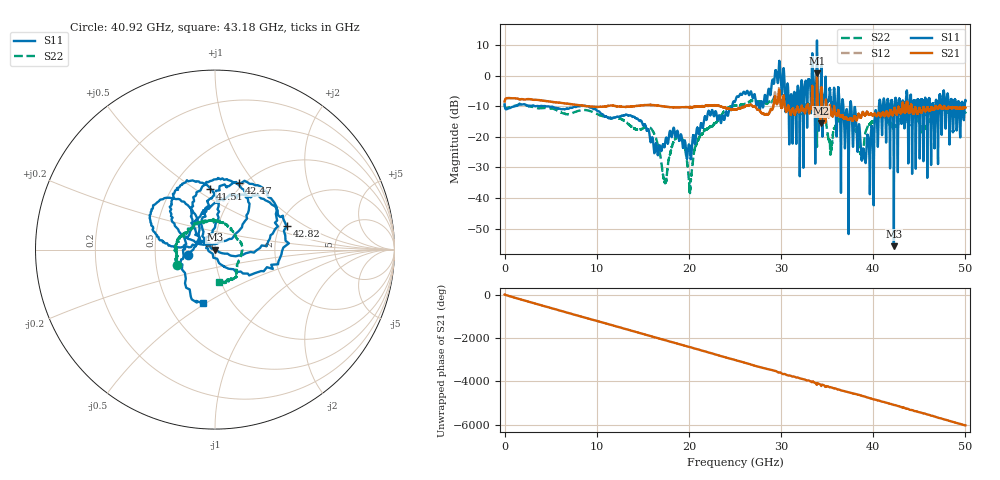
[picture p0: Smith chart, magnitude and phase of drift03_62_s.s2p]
!Created with skrf (http://scikit-rf.org).
# Hz S RI R 50.0
!freq ReS11 ImS11 ReS21 ImS21 ReS12 ImS12 ReS22 ImS22
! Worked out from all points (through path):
!   10001 points, 300 kHz to 50 GHz, reference 50 ohm
!   highest |S21| = 0.74 dB at 33.9 GHz (marker M1); lowest = -15.5 dB at 34.32 GHz (marker M2)
!   group delay of S21, straight-line fit = 335 ps
!   lowest |S11| = -55.8 dB at 42.24 GHz (marker M3), VSWR 1.00, Z = 49.9 - j0.123 ohm
!   |S11| at or under -10 dB: 4.472 GHz to 8.19 GHz (3.718 GHz wide, 58.7 % of centre); 9.016 GHz to 24.7 GHz (15.68 GHz wide, 93 % of centre); 37.62 GHz to 40.62 GHz (2.999 GHz wide, 7.67 % of centre) (the widest 3 of 56)
!   |S22| runs from -38.4 to -5.9 dB; largest |S21 - S12| = 0.11
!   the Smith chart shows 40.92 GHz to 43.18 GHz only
!   S11 on the Smith chart (normalised r, x): 40.92 GHz: 0.74, -0.05; 41.51 GHz: 0.76, +0.58; 42.47 GHz: 0.96, +0.84; 42.82 GHz: 2.18, +0.70; 43.18 GHz: 0.74, -0.49
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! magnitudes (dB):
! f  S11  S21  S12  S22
! 300 kHz  -9.4  -8.5  -8.5  -9.4
! 8.335 GHz  -9.9  -9.8  -9.8  -11.3
! 16.67 GHz  -25.5  -9.8  -9.8  -23.2
! 17.4 GHz  -22.4  -10.1  -10.1  -35.0
! 19.1 GHz  -19.5  -10.3  -10.3  -20.1
! 20.13 GHz  -24.4  -10.3  -10.3  -37.2
! 21.19 GHz  -17.9  -10.1  -10.1  -19.8
! 25 GHz  -8.6  -11.1  -11.1  -9.8
! 33.34 GHz  0.7  -7.3  -7.4  -9.4
! 33.9 GHz  11.5  0.7  0.3  -23.3
! 34.32 GHz  -2.9  -15.5  -14.9  -11.2
! 35.33 GHz  -5.5  -10.3  -9.8  -24.8
! 37 GHz  -16.8  -13.8  -14.0  -13.1
! 38.97 GHz  -24.9  -12.5  -12.6  -23.2
! 40.92 GHz  -16.2  -12.5  -12.6  -12.9
! 41.51 GHz  -9.4  -12.1  -12.0  -14.9
! 41.67 GHz  -9.6  -13.3  -13.2  -15.3
! 42.24 GHz  -55.8  -11.4  -11.4  -17.4
! 42.47 GHz  -8.1  -12.3  -12.3  -16.4
! 42.82 GHz  -7.5  -11.1  -11.0  -14.3
! 43.18 GHz  -10.2  -9.5  -9.4  -14.8
! 50 GHz  -8.0  -10.5  -10.5  -12.2
